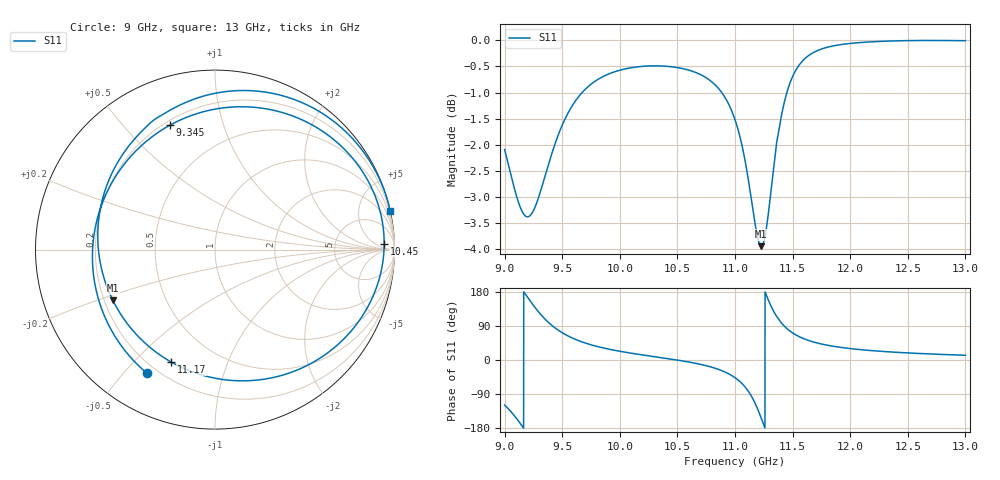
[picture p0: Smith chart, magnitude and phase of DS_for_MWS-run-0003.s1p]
! TOUCHSTONE file generated by CST DESIGN STUDIO
! Date and time: Tue Feb  4 13:54:24 2025
! Project name: C:\Work\MatlabApps\UnitCellOptimizationMatlab\CST\unitcell.cst
! Tree item: Tasks\Sweep1\SPara1\S-Parameters
! Header version: 2024
! Port assignment regex: !\s*Touchstone port\s*([0-9]+)\s*=\s*(CST MWS port|CST DES external port|CST DES block port)\s*(.+)\s* \(\"(.*)\"\)(\s*mode\s*([0-9]+))?.*
! Touchstone port assignment:
! Touchstone port 1 = CST DES external port 1 ("")
# GHz S MA R 50
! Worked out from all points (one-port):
!   4001 points, 9 GHz to 13 GHz, reference 50 ohm
!   lowest |S11| = -3.9 dB at 11.23 GHz (marker M1), VSWR 4.49, Z = 11.7 - j11.1 ohm
!   |S11| at or under -10 dB: nowhere
!   S11 on the Smith chart (normalised r, x): 9 GHz: 0.16, -0.58; 9.345 GHz: 0.22, +0.68; 10.45 GHz: 25, +15; 11.17 GHz: 0.28, -0.65; 13 GHz: 0.04, +9.10
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9  0.7862 -118.8
9.099  0.7124 -152.5
9.172  0.6806 177.3
9.265  0.6929 138.2
9.345  0.7377 109.7
9.416  0.783 89.9
9.5  0.8294 71.9
9.71  0.8998 43.8
10  0.9361 23.0
10.451  0.9432 2.1
10.5  0.9416 -0.2
10.817  0.9087 -20.7
10.919  0.8795 -32.5
11  0.8396 -46.5
11.103  0.7504 -77.0
11.17  0.6723 -111.3
11.228  0.6355 -153.6
11.258  0.6474 -177.8
11.287  0.6793 159.9
11.325  0.7379 134.5
11.359  0.795 116.3
11.42  0.8647 92.0
11.5  0.9233 71.5
11.585  0.9551 57.7
11.689  0.9744 46.8
12  0.993 30.1
12.5  0.9991 18.7
13  0.9989 12.5
